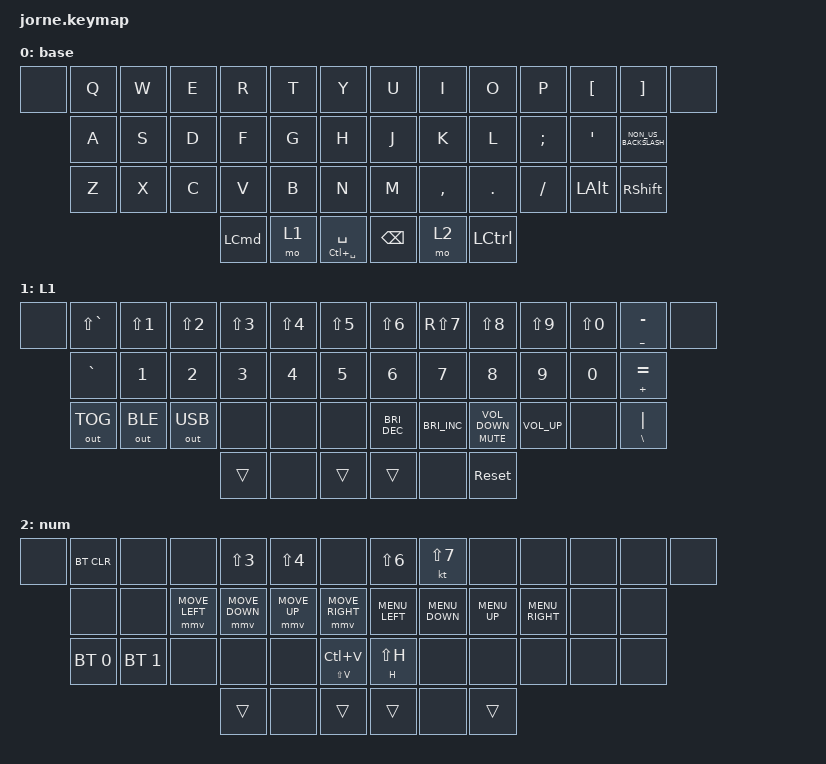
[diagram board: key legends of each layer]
/*
 * Copyright (c) 2020 The ZMK Contributors
 *
 * SPDX-License-Identifier: MIT
 */

#include <behaviors.dtsi>
#include <dt-bindings/zmk/bt.h>
#include <dt-bindings/zmk/keys.h>
#include <dt-bindings/zmk/outputs.h>
#include <dt-bindings/zmk/pointing.h>

/ {
    combos {
        compatible = "zmk,combos";

        combo_game {
            bindings = <&tog 0>;
            key-positions = <38 43>;
            timeout-ms = <200>;
        };

        game_esc {
            bindings = <&kp ESC>;
            key-positions = <2 1>;
        };

        enter_combo {
            bindings = <&kp ENTER>;
            key-positions = <12 11>;
        };
    };

    behaviors {
        hml: hml {
            compatible = "zmk,behavior-hold-tap";
            label = "HML";
            bindings = <&kp>, <&kp>;

            #binding-cells = <2>;
            tapping-term-ms = <220>;
            quick-tap-ms = <175>;
            flavor = "balanced";
            require-prior-idle-ms = <100>;
            hold-trigger-key-positions = <7 8 9 10 11 12 13 20 21 22 23 24 25 32 33 34 35 36 37 38 39 40 41 42 43>;
            hold-trigger-on-release;
        };

        hmr: hmr {
            compatible = "zmk,behavior-hold-tap";
            label = "HMR";
            bindings = <&kp>, <&kp>;

            #binding-cells = <2>;
            tapping-term-ms = <220>;
            quick-tap-ms = <175>;
            require-prior-idle-ms = <100>;
            flavor = "balanced";
            hold-trigger-key-positions = <0 1 2 3 4 5 6 14 15 16 17 18 19 26 27 28 29 30 31 38 39 40 41 42 43>;
            hold-trigger-on-release;
        };

        tkl: tkl {
            compatible = "zmk,behavior-hold-tap";
            label = "TKL";
            bindings = <&mo>, <&kp>;

            #binding-cells = <2>;
            tapping-term-ms = <220>;
            quick-tap-ms = <175>;
            flavor = "balanced";
            require-prior-idle-ms = <100>;
            hold-trigger-key-positions = <7 8 9 10 11 12 13 20 21 22 23 24 25 32 33 34 35 36 37 38 39 40 41 42 43>;
            hold-trigger-on-release;
        };

        tkr: tkr {
            compatible = "zmk,behavior-hold-tap";
            label = "TKR";
            bindings = <&mo>, <&kp>;

            #binding-cells = <2>;
            tapping-term-ms = <220>;
            quick-tap-ms = <175>;
            require-prior-idle-ms = <100>;
            flavor = "balanced";
            hold-trigger-key-positions = <0 1 2 3 4 5 6 14 15 16 17 18 19 26 27 28 29 30 31 38 39 40 41 42 43>;
            hold-trigger-on-release;
        };
    };

    macros {
        change_lang: change_lang {
            compatible = "zmk,behavior-macro";
            #binding-cells = <0>;
            bindings = <&none>, <&macro_tap>;

            label = "CHANGE_LANG";
        };
    };

    keymap {
        compatible = "zmk,keymap";

        base {
            // Jorne: 44 keys (positions 0 and 13 are extra outer keys, not present physically)
            // -----------------------------------------------------------------------------------------
            // | x |  ESC |  Q  |  W  |  E  |  R  |  T  |   |  Y  |  U   |  I  |  O  |  P  | BKSP | x |
            //     | TAB  |  A  |  S  |  D  |  F  |  G  |   |  H  |  J   |  K  |  L  |  '  |  '   |
            //     | SHFT |  Z  |  X  |  C  |  V  |  B  |   |  N  |  M   |  ,  |  .  |  /  | SHFT |
            //                        | GUI | LWR | SPC |   | ENT | RSE  | ALT |

            bindings = <
&none  &kp Q  &kp W  &kp E  &kp R             &kp T  &kp Y                  &kp U          &kp I      &kp O             &kp P          &kp LEFT_BRACKET  &kp RIGHT_BRACKET     &none
       &kp A  &kp S  &kp D  &kp F             &kp G  &kp H                  &kp J          &kp K      &kp L             &kp SEMICOLON  &kp SQT           &kp NON_US_BACKSLASH
       &kp Z  &kp X  &kp C  &kp V             &kp B  &kp N                  &kp M          &kp COMMA  &kp PERIOD        &kp SLASH      &kp LEFT_ALT      &kp RIGHT_SHIFT
                            &kp LEFT_COMMAND  &mo 1  &mt LC(SPACE) SPACE    &kp BACKSPACE  &mo 2      &kp LEFT_CONTROL
            >;
        };

        L1 {
            bindings = <
&none  &kp LS(GRAVE)  &kp LS(NUMBER_1)  &kp LS(NUMBER_2)  &kp LS(NUMBER_3)  &kp LS(NUMBER_4)  &kp LS(NUMBER_5)    &kp LS(NUMBER_6)  &kp RS(NUMBER_7)  &kp LS(NUMBER_8)          &kp LS(NUMBER_9)  &kp LS(NUMBER_0)  &mt UNDERSCORE MINUS  &none
       &kp GRAVE      &kp NUMBER_1      &kp NUMBER_2      &kp NUMBER_3      &kp NUMBER_4      &kp NUMBER_5        &kp NUMBER_6      &kp NUMBER_7      &kp NUMBER_8              &kp NUMBER_9      &kp NUMBER_0      &mt PLUS EQUAL
       &out OUT_TOG   &out OUT_BLE      &out OUT_USB      &none             &none             &none               &kp C_BRI_DEC     &kp C_BRI_INC     &mt K_MUTE C_VOLUME_DOWN  &kp C_VOLUME_UP   &none             &mt BACKSLASH PIPE
                                                          &trans            &none             &trans              &trans            &none             &sys_reset
            >;
        };

        num {
            bindings = <
&none  &bt BT_CLR    &none         &none           &kp LS(NUMBER_3)  &kp LS(NUMBER_4)  &none              &kp LS(NUMBER_6)  &kt LS(N7)       &none          &none             &none  &none  &none
       &none         &none         &mmv MOVE_LEFT  &mmv MOVE_DOWN    &mmv MOVE_UP      &mmv MOVE_RIGHT    &kp C_MENU_LEFT   &kp C_MENU_DOWN  &kp C_MENU_UP  &kp C_MENU_RIGHT  &none  &none
       &bt BT_SEL 0  &bt BT_SEL 1  &none           &none             &none             &mt LS(V) LC(V)    &mt H LS(H)       &none            &none          &none             &none  &none
                                                   &trans            &none             &trans             &trans            &none            &trans
            >;
        };
    };
};
